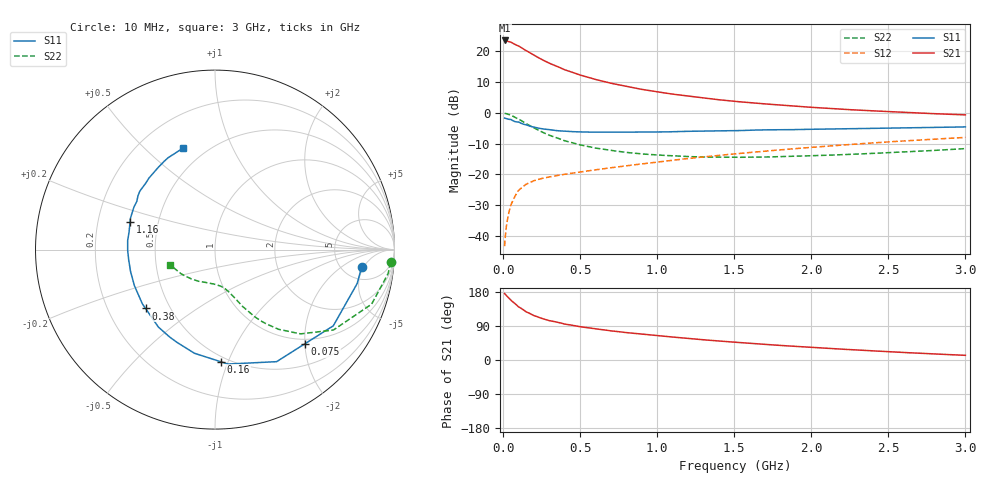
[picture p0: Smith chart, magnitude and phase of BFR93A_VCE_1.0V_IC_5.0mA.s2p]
! Infineon Technologies  Discrete & RF Semiconductors
! BFR93A
! VCE =  1.0 V,  IC =  5.0 mA
! Common Emitter S-Parameters:  Nov 2015
# GHz  S  MA  R  50
!  f  S11  S21  S12  S22
! GHz  MAG  ANG  MAG  ANG  MAG  ANG  MAG  ANG
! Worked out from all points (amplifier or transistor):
!   180 points, 10 MHz to 3 GHz, reference 50 ohm
!   highest |S21| = 23.6 dB at 10 MHz (marker M1)
!   |S21| within 3 dB of that: start of sweep to 139.6 MHz
!   unconditionally stable (mu >= 1): 698 MHz to end of sweep
!   at 160 MHz: K = 0.35, MSG = 21.5 dB, |S12| = -23.0 dB
!   at 1.22 GHz: K = 1.15, MAG = 7.7 dB, |S12| = -14.7 dB
!   at 3 GHz: K = 1.03, MAG = 2.6 dB, |S12| = -8.0 dB
!   S11 on the Smith chart (normalised r, x): 10 MHz: 7.51, -4.53; 75 MHz: 0.90, -2.00; 160 MHz: 0.46, -0.95; 380 MHz: 0.37, -0.32; 1.16 GHz: 0.34, +0.14; 3 GHz: 0.38, +0.66
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0.01  0.8227 -6.8  15.07 175.3  0.0068 86.6  0.9817 -4.1
0.02  0.8145 -13.4  14.94 170.6  0.0134 82.6  0.9737 -7.9
0.05  0.784 -32.8  14.18 157.8  0.0315 73.1  0.924 -19.2
0.075  0.7254 -46.3  13.09 149.7  0.0429 65.1  0.8534 -26.1
0.1  0.7125 -61.2  12.3 140.4  0.0547 60.5  0.7974 -34.2
0.15  0.6417 -83.5  10.3 127.0  0.0692 52.4  0.6698 -44.5
0.16  0.6266 -86.8  9.961 125.3  0.0711 51.4  0.6491 -45.7
0.2  0.5889 -101.2  8.688 117.2  0.0789 47.8  0.5698 -51.3
0.24  0.5583 -112.4  7.645 111.4  0.0842 45.5  0.5069 -55.1
0.26  0.5487 -117.4  7.2 108.7  0.0867 44.8  0.4798 -56.8
0.3  0.5345 -126.2  6.43 103.9  0.0909 43.9  0.4333 -59.5
0.38  0.5071 -139.7  5.296 97.0  0.0985 43.5  0.368 -63.0
0.4  0.505 -143.3  5.028 94.8  0.1004 43.4  0.3519 -64.1
0.52  0.4897 -157.8  3.999 86.8  0.1112 44.2  0.2953 -67.5
0.7  0.4843 -173.1  3.036 76.9  0.1282 46.2  0.2451 -72.3
0.9  0.4892 174.2  2.414 68.3  0.148 48.1  0.2152 -78.1
1.02  0.489 168.1  2.162 63.6  0.1611 48.8  0.2053 -81.6
1.16  0.4984 161.7  1.934 58.5  0.1766 49.2  0.197 -86.9
1.52  0.5137 147.8  1.526 46.5  0.2175 49.1  0.1896 -101.2
2.02  0.5425 132.6  1.224 33.0  0.2776 46.6  0.2018 -121.7
2.52  0.5682 119.7  1.044 21.6  0.3401 41.9  0.2268 -141.7
3  0.5923 107.7  0.929 12.3  0.3992 36.2  0.2627 -161.2
